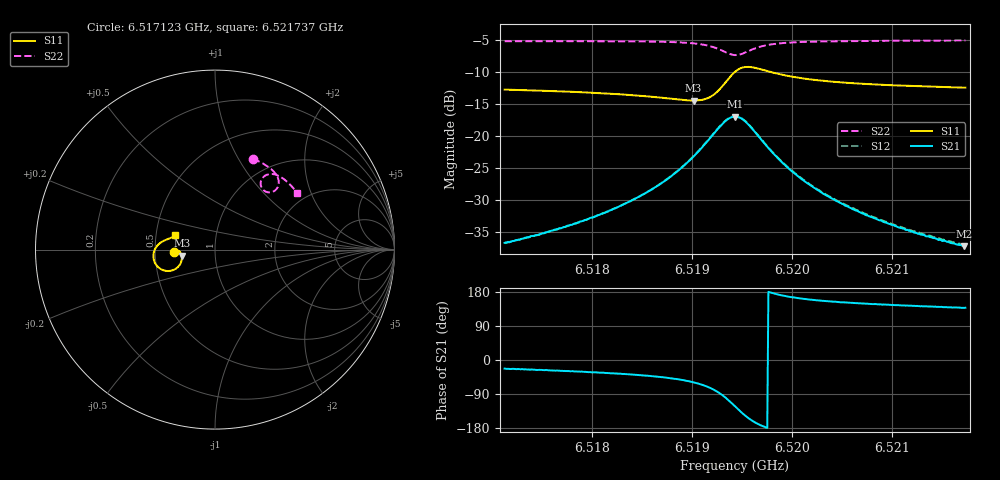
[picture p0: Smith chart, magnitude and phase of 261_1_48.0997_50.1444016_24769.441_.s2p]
#  HZ  S  RI  R  50.00
! Rohde & Schwarz Vector Network Analyzer
! Rohde-Schwarz,ZNB20-2Port,1311601062101988,3.16
! Created: UTC 12/23/2023, 4:00:45 AM
! freq[Hz]  re:S11  im:S11  re:S21  im:S21  re:S12  im:S12  re:S22  im:S22
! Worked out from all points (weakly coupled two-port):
!   401 points, 6.517123 GHz to 6.521737 GHz, reference 50 ohm
!   highest |S21| = -16.97 dB at 6.51943 GHz (marker M1); lowest = -37.2 dB at 6.521725 GHz (marker M2)
!   lowest |S11| = -14.5 dB at 6.519015 GHz (marker M3), VSWR 1.47, Z = 34.3 - j2.45 ohm
!   |S11| at or under -10 dB: start of sweep to 6.51943 GHz; 6.519782 GHz to end of sweep
!   |S22| runs from -7.4 to -5.1 dB; largest |S21 - S12| = 0.0043
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6.5171232e9  -0.2293 -0.0145  0.0135 -0.00564  0.0135 -0.00522  0.2121 0.5059
6.5174692e9  -0.2254 -0.00961  0.0153 -0.00745  0.0154 -0.00692  0.2373 0.4948
6.517896e9  -0.219 -0.00475  0.0186 -0.0109  0.0188 -0.0105  0.2689 0.4785
6.5183573e9  -0.2093 -0.00342  0.024 -0.0185  0.0246 -0.0177  0.3036 0.4557
6.5186687e9  -0.1993 -0.00842  0.0295 -0.029  0.0306 -0.0283  0.3277 0.4341
6.5188417e9  -0.1925 -0.0168  0.0333 -0.04  0.0347 -0.0392  0.3412 0.4172
6.5190147e9  -0.1857 -0.0344  0.0357 -0.0591  0.0378 -0.0582  0.3528 0.3928
6.5191185e9  -0.1851 -0.0535  0.0329 -0.0777  0.0355 -0.0772  0.3555 0.372
6.5192108e9  -0.1927 -0.0785  0.0222 -0.1002  0.0254 -0.1003  0.3498 0.3487
6.5193376e9  -0.2366 -0.1155  -0.0225 -0.1294  -0.019 -0.131  0.3155 0.32
6.5194299e9  -0.296 -0.1116  -0.0755 -0.1199  -0.0725 -0.1229  0.2743 0.3277
6.5194876e9  -0.3267 -0.0866  -0.1 -0.0946  -0.0981 -0.0979  0.2576 0.3494
6.5195452e9  -0.3413 -0.0537  -0.1095 -0.0642  -0.1086 -0.0679  0.2543 0.3744
6.5196375e9  -0.3389 -0.00865  -0.1022 -0.026  -0.1023 -0.0291  0.2686 0.4036
6.5197413e9  -0.3219 0.0216  -0.0844 -0.003  -0.0849 -0.00544  0.2919 0.418
6.5199604e9  -0.2902 0.0467  -0.055 0.0124  -0.0558 0.0108  0.3313 0.4192
6.5202027e9  -0.2693 0.0561  -0.0375 0.0145  -0.0384 0.0135  0.3601 0.4079
6.5205487e9  -0.2522 0.0626  -0.0249 0.0134  -0.0256 0.0129  0.3895 0.3882
6.5209754e9  -0.2395 0.0689  -0.017 0.0116  -0.0175 0.0114  0.4174 0.3629
6.5214829e9  -0.229 0.0757  -0.0118 0.00998  -0.0124 0.00975  0.4452 0.332
6.5217251e9  -0.2247 0.0788  -0.0102 0.00928  -0.0108 0.00929  0.457 0.3169
6.5217366e9  -0.2246 0.0793  -0.0102 0.00925  -0.0105 0.00912  0.4576 0.316
